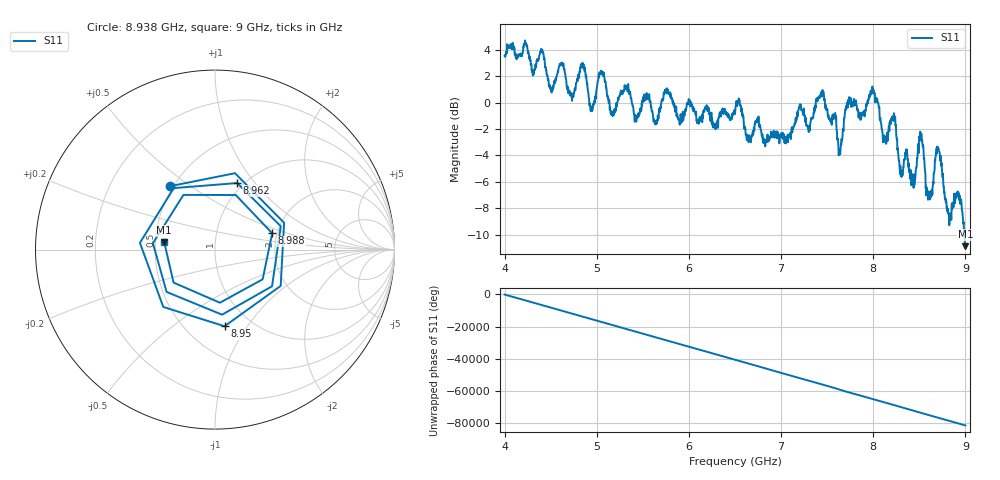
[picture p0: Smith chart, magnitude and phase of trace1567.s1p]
! Created with skrf 1.8.0 (http://scikit-rf.org).
# Hz S RI R 50.0
!freq ReS11 ImS11
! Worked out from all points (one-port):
!   1601 points, 4 GHz to 9 GHz, reference 50 ohm
!   lowest |S11| = -10.9 dB at 9 GHz (marker M1), VSWR 1.80, Z = 27.9 + j2.5 ohm
!   |S11| at or under -10 dB: 8.990433 GHz to end of sweep
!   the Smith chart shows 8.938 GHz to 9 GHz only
!   S11 on the Smith chart (normalised r, x): 8.938 GHz: 0.48, +0.42; 8.95 GHz: 0.76, -0.79; 8.962 GHz: 0.94, +0.82; 8.988 GHz: 1.88, +0.39; 9 GHz: 0.56, +0.05
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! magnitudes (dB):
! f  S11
! 4 GHz  3.5
! 4.406 GHz  4.0
! 4.506 GHz  1.0
! 4.625 GHz  2.9
! 4.731 GHz  0.1
! 4.853 GHz  2.7
! 4.944 GHz  -0.6
! 5.053 GHz  2.3
! 5.162 GHz  -0.8
! 5.25 GHz  0.5
! 5.875 GHz  -1.1
! 6.5 GHz  -0.9
! 7.125 GHz  -2.0
! 7.441 GHz  0.8
! 7.641 GHz  -3.9
! 7.75 GHz  0.2
! 7.994 GHz  0.9
! 8.375 GHz  -4.3
! 8.438 GHz  -6.5
! 8.522 GHz  -2.4
! 8.616 GHz  -7.3
! 8.703 GHz  -3.4
! 8.822 GHz  -8.6
! 8.938 GHz  -7.3
! 8.95 GHz  -7.3
! 8.962 GHz  -8.2
! 8.988 GHz  -9.6
! 9 GHz  -10.9
